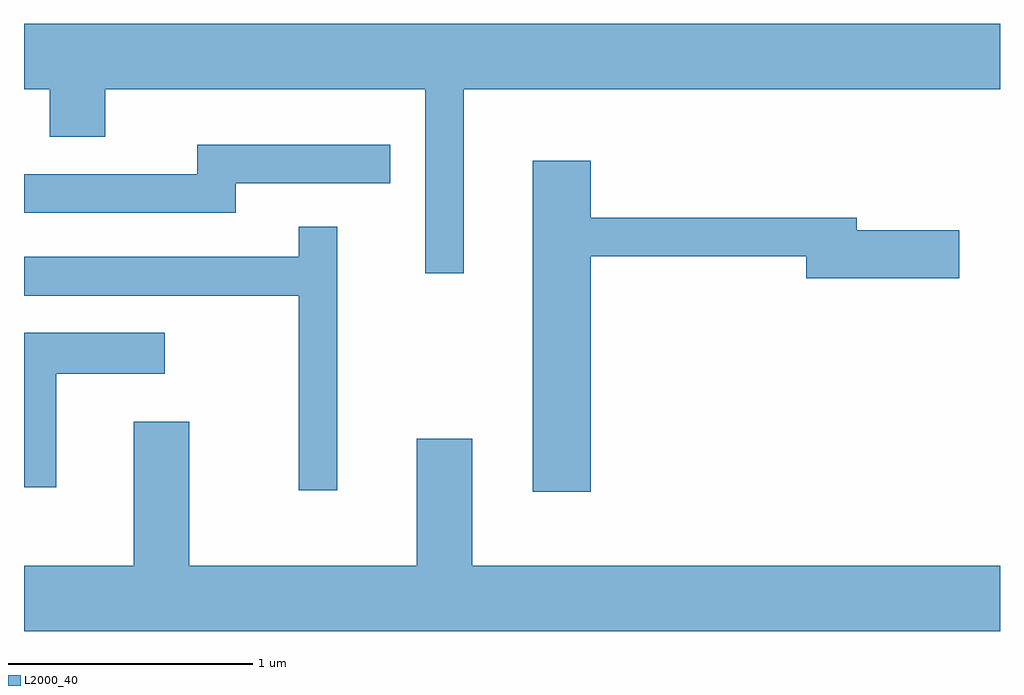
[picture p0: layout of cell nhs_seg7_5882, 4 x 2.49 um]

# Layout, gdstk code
import gdstk
lib = gdstk.Library(unit=1e-6, precision=1e-09)
def P(c, l, *ps):  # polygons
    for p in ps: c.add(gdstk.Polygon(p, *l))
L2000_40 = (2000, 40)

nhs_seg7_5882 = lib.new_cell('nhs_seg7_5882')
P(nhs_seg7_5882, L2000_40, [(367.414,1683.236),(369.611,1683.236),(369.611,1683.504),(365.611,1683.504),(365.611,1683.236),(365.716,1683.236),(365.716,1683.041),(365.944,1683.041),(365.944,1683.236),(367.256,1683.236),(367.256,1682.483),(367.414,1682.483)],
  [(366.479,1682.851),(367.113,1682.851),(367.113,1683.009),(366.321,1683.009),(366.321,1682.889),(365.611,1682.889),(365.611,1682.731),(366.479,1682.731)],
  [(367.934,1682.551),(368.816,1682.551),(368.816,1682.461),(369.444,1682.461),(369.444,1682.659),(369.024,1682.659),(369.024,1682.709),(367.934,1682.709),(367.934,1682.944),(367.696,1682.944),(367.696,1681.586),(367.934,1681.586)],
  [(366.894,1682.673),(366.736,1682.673),(366.736,1682.549),(365.611,1682.549),(365.611,1682.391),(366.736,1682.391),(366.736,1681.593),(366.894,1681.593)],
  [(365.744,1682.071),(366.188,1682.071),(366.188,1682.239),(365.611,1682.239),(365.611,1681.606),(365.744,1681.606)],
  [(369.611,1681.284),(367.449,1681.284),(367.449,1681.804),(367.221,1681.804),(367.221,1681.284),(366.289,1681.284),(366.289,1681.874),(366.061,1681.874),(366.061,1681.284),(365.611,1681.284),(365.611,1681.016),(369.611,1681.016)])

lib.write_gds('nhs_seg7_5882.gds')
